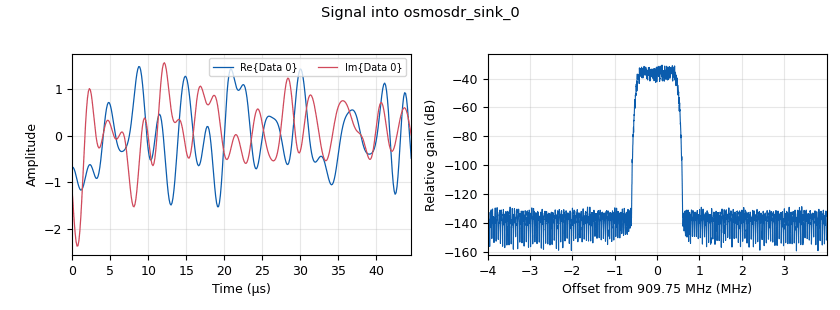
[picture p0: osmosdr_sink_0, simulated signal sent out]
<?xml version='1.0' encoding='utf-8'?>
<?grc format='1' created='3.7.11'?>
<flow_graph>
<block>
<key>options</key>
<param><key>id</key><value>top_block</value></param>
<param><key>category</key><value>Custom</value></param>
<param><key>generate_options</key><value>wx_gui</value></param>
</block>
<block>
<key>variable</key>
<param><key>id</key><value>freq</value></param>
<param><key>value</key><value>freq_set-250e3</value></param>
</block>
<block>
<key>variable_text_box</key>
<param><key>id</key><value>freq_set</value></param>
<param><key>converver</key><value>float_converter</value></param>
<param><key>value</key><value>910e6</value></param>
<param><key>formatter</key><value>None</value></param>
<param><key>label</key><value></value></param>
</block>
<block>
<key>variable_text_box</key>
<param><key>id</key><value>gain</value></param>
<param><key>converver</key><value>float_converter</value></param>
<param><key>value</key><value>0</value></param>
<param><key>formatter</key><value>None</value></param>
<param><key>label</key><value></value></param>
</block>
<block>
<key>variable</key>
<param><key>id</key><value>samp_rate</value></param>
<param><key>value</key><value>8e6</value></param>
</block>
<block>
<key>analog_fastnoise_source_x</key>
<param><key>id</key><value>analog_fastnoise_source_x_0</value></param>
<param><key>amp</key><value>1</value></param>
<param><key>noise_type</key><value>analog.GR_GAUSSIAN</value></param>
<param><key>type</key><value>complex</value></param>
<param><key>seed</key><value>0</value></param>
<param><key>samples</key><value>8192</value></param>
</block>
<block>
<key>analog_noise_source_x</key>
<param><key>id</key><value>analog_noise_source_x_0</value></param>
<param><key>amp</key><value>1</value></param>
<param><key>_enabled</key><value>0</value></param>
<param><key>noise_type</key><value>analog.GR_GAUSSIAN</value></param>
<param><key>type</key><value>complex</value></param>
<param><key>seed</key><value>0</value></param>
</block>
<block>
<key>note</key>
<param><key>id</key><value>note_0</value></param>
<param><key>comment</key><value>Transmits a Gaussian noise-like signal using HackRF (or with any OSMOCOM source).
Change device arguments as necessary.</value></param>
</block>
<block>
<key>osmosdr_sink</key>
<param><key>id</key><value>osmosdr_sink_0</value></param>
<param><key>bb_gain0</key><value>0</value></param>
<param><key>bw0</key><value>samp_rate</value></param>
<param><key>freq0</key><value>freq</value></param>
<param><key>if_gain0</key><value>gain</value></param>
<param><key>gain0</key><value>0</value></param>
<param><key>args</key><value>hackrf=337f29cf</value></param>
<param><key>type</key><value>fc32</value></param>
<param><key>sample_rate</key><value>samp_rate</value></param>
<param><key>sync</key><value></value></param>
</block>
<block>
<key>pfb_interpolator_ccf</key>
<param><key>id</key><value>pfb_interpolator_ccf_0</value></param>
<param><key>atten</key><value>100</value></param>
<param><key>interp</key><value>8</value></param>
</block>
<connection><source_block_id>analog_fastnoise_source_x_0</source_block_id><sink_block_id>pfb_interpolator_ccf_0</sink_block_id><source_key>0</source_key><sink_key>0</sink_key></connection>
<connection><source_block_id>analog_noise_source_x_0</source_block_id><sink_block_id>pfb_interpolator_ccf_0</sink_block_id><source_key>0</source_key><sink_key>0</sink_key></connection>
<connection><source_block_id>pfb_interpolator_ccf_0</source_block_id><sink_block_id>osmosdr_sink_0</sink_block_id><source_key>0</source_key><sink_key>0</sink_key></connection>
</flow_graph>
